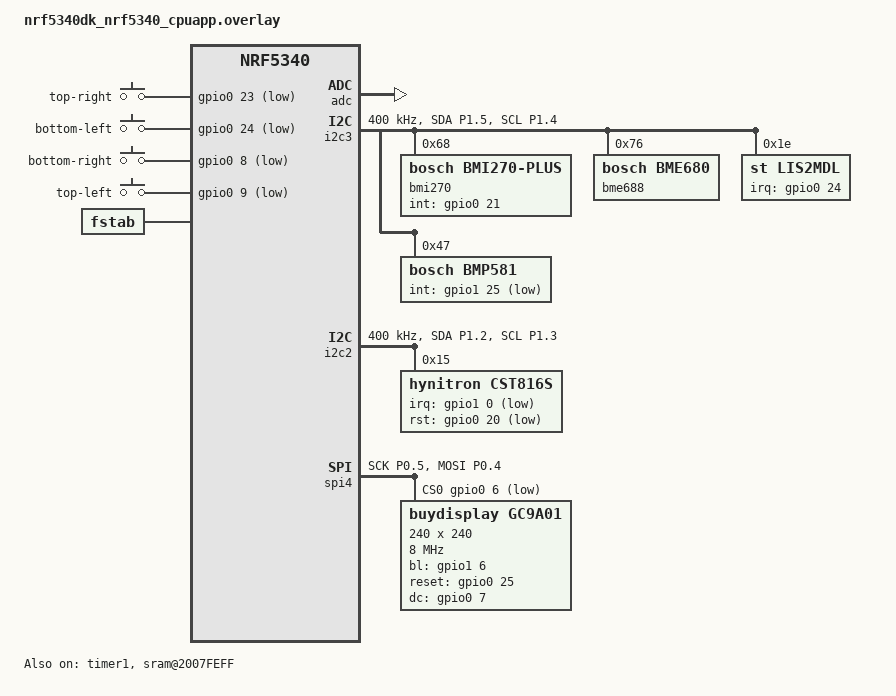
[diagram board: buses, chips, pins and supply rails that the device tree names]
/*
 * Copyright (c) 2023 Jakob Krantz
 *
 * SPDX-License-Identifier: Apache-2.0
 */

 &pinctrl {
    // Set to I2C pins that the sensors are connected to
    i2c3_default: i2c3_default {
        group1 {
            psels = <NRF_PSEL(TWIM_SDA, 1, 5)>,
                <NRF_PSEL(TWIM_SCL, 1, 4)>;
        };
    };

    i2c3_sleep: i2c3_sleep {
        group1 {
            psels = <NRF_PSEL(TWIM_SDA, 1, 5)>,
                <NRF_PSEL(TWIM_SCL, 1, 4)>;
            low-power-enable;
        };
    };

    // Set to I2C pins that the touch screen is connected to
    i2c2_default: i2c2_default {
        group1 {
            psels = <NRF_PSEL(TWIM_SDA, 1, 2)>,
                <NRF_PSEL(TWIM_SCL, 1, 3)>;
        };
    };

    i2c2_sleep: i2c2_sleep {
        group1 {
            psels = <NRF_PSEL(TWIM_SDA, 1, 2)>,
                <NRF_PSEL(TWIM_SCL, 1, 3)>;
            low-power-enable;
        };
    };

    // Set to the pins that the display is connected to
    spi4_default: spi4_default {
        group1 {
            psels = <NRF_PSEL(SPIM_SCK, 0, 5)>,
                <NRF_PSEL(SPIM_MOSI, 0, 4)>;
        };
    };

    spi4_sleep: spi4_sleep {
        group1 {
            psels = <NRF_PSEL(SPIM_SCK, 0, 5)>,
                <NRF_PSEL(SPIM_MOSI, 0, 4)>;
            low-power-enable;
        };
    };

};

/ {
    /delete-node/ buttons;
    
    chosen {
        zephyr,display = &gc9a01;
        zephyr,keyboard-scan = &cst816s;
        nordic,pm-ext-flash = &mx25r64;
    };

    lvgl_pointer_input: lvgl_pointer {
        compatible = "zephyr,lvgl-pointer-input";
        input = <&cst816s>;
        swap-xy;
        invert-x;
    };

    aliases {
        magn = &lis2mdl;
        accel = &bmi270;
        input = &cst816s;
        mcuboot-button0 = &button1;
        sw0 = &button4;
    };

    longpress: longpress {
        input = <&buttons>;
        compatible = "zephyr,input-longpress";
        input-codes = <INPUT_KEY_KP0>;
        short-codes = <INPUT_KEY_4>;
        long-codes = <INPUT_KEY_Y>;
        long-delay-ms = <1000>;
    };

    buttons: buttons {
        compatible = "gpio-keys";
        button1: button_1 {
            label = "top-right";
            gpios = <&gpio0 23 (GPIO_PULL_UP | GPIO_ACTIVE_LOW)>;
            zephyr,code = <INPUT_KEY_1>;
        };
        button2: button_2 {
            label = "bottom-left";
            gpios = <&gpio0 24 (GPIO_PULL_UP | GPIO_ACTIVE_LOW)>;
            zephyr,code = <INPUT_KEY_2>;
        };
        button3: button_3 {
            label = "bottom-right";
            gpios = <&gpio0 8 (GPIO_PULL_UP | GPIO_ACTIVE_LOW)>;
            zephyr,code = <INPUT_KEY_3>;
        };
        button4: button_4 {
            label = "top-left";
            gpios = <&gpio0 9 (GPIO_PULL_UP | GPIO_ACTIVE_LOW)>;
            zephyr,code = <INPUT_KEY_KP0>;
        };
    };
};

&adc {
    status = "okay";
};

&gpiote {
    status = "okay";
};

&gpio0 {
    status = "okay";
    sense-edge-mask = < 0xffffffff >;
};

&gpio1 {
    status = "okay";
};

&timer1 {
    status = "okay";
};

&i2c3 {
    compatible = "nordic,nrf-twim";
    status = "okay";
    clock-frequency = <I2C_BITRATE_FAST>;
    zephyr,concat-buf-size = <512>;
    pinctrl-0 = <&i2c3_default>;
    pinctrl-1 = <&i2c3_sleep>;
    pinctrl-names = "default", "sleep";

    bmi270: bmi270@68 {
        compatible = "bosch,bmi270-plus";
        reg = <0x68>;
        int-gpios = <&gpio0 21 (GPIO_PULL_DOWN | GPIO_ACTIVE_HIGH)>;
        invert-x;
        invert-y;
    };

    bme688: bme688@76 {
        compatible = "bosch,bme680";
        reg = <0x76>;
    };

    lis2mdl: lis2mdl@1e {
        compatible = "st,lis2mdl";
        reg = <0x1e>;
        irq-gpios = <&gpio0 24 0>;
    };

    bmp581: bmp581@47 {
        compatible = "bosch,bmp581";
        reg = <0x47>;
        int-gpios = <&gpio1 25 (GPIO_PULL_UP | GPIO_ACTIVE_LOW)>;
    };
};

&i2c2 {
    compatible = "nordic,nrf-twim";
    status = "okay";
    clock-frequency = <I2C_BITRATE_FAST>;
    pinctrl-0 = <&i2c2_default>;
    pinctrl-1 = <&i2c2_sleep>;
    pinctrl-names = "default", "sleep";

    cst816s: cst816s@15 {
        compatible = "hynitron,cst816s";
        reg = <0x15>;
        irq-gpios = <&gpio1 0 GPIO_ACTIVE_LOW>;
        rst-gpios = <&gpio0 20 GPIO_ACTIVE_LOW>;
    };
};

&i2c3_default {
    status = "okay";
};

&i2c3_default {
	group1 {
		bias-pull-up;
	};
};


&spi4  {
    status = "okay";
    compatible = "nordic,nrf-spim";
    pinctrl-0 = <&spi4_default>;
    pinctrl-1 = <&spi4_sleep>;
    pinctrl-names = "default", "sleep";
    cs-gpios = <&gpio0 6 GPIO_ACTIVE_LOW>;

    gc9a01: gc9a01@0 {
        compatible = "buydisplay,gc9a01";
        status = "okay";
        spi-max-frequency = <8000000>;
        reg = <0>;
        width = <240>;
        height = <240>;
        bl-gpios = <&gpio1 6 GPIO_ACTIVE_HIGH>; // Backlight not supported on DK. Must connect to 3V3 directly!
        reset-gpios = <&gpio0 25 GPIO_ACTIVE_HIGH>;
        dc-gpios = <&gpio0 7 GPIO_ACTIVE_HIGH>;
    };
};


/ {
	fstab {
		compatible = "zephyr,fstab";
		lvgl_lfs: lvgl_lfs {
			compatible = "zephyr,fstab,littlefs";
			mount-point = "/lvgl_lfs";
			partition = <&littlefs_storage>;
			automount;
			read-size = <1024>;
			prog-size = <512>;
			cache-size = <4096>;
			lookahead-size = <4096>;
			block-cycles = <512>;
		};
	};
};

/delete-node/ &storage_partition;

&mx25r64 {
	partitions {
		compatible = "fixed-partitions";
		#address-cells = <1>;
		#size-cells = <1>;

		littlefs_storage: partition@0 {
			label = "littlefs_storage";
			reg = <0x00000000 0x00200000>;
		};
		lvgl_raw_partition: partition@200000 {
			label = "lvgl_raw_partition";
			reg = <0x00200000 0x00200000>;
		};
        storage_partition: partition@400000 {
            label = "storage_partition";
            reg = <0x400000 0x100000 >;
        };
	};
};

/ {
    sram@2007FEFF {
        compatible = "zephyr,memory-region", "mmio-sram";
        reg = <0x2007FEFF 0x100>;
        zephyr,memory-region = "RetainedMem";
        status = "okay";

        retainedmem {
            compatible = "zephyr,retained-ram";
            status = "okay";
            #address-cells = <1>;
            #size-cells = <1>;

            retention0: retention@0 {
                compatible = "zephyr,retention";
                status = "okay";
                reg = <0x0 0xFB>;
                prefix = [04 fa];
                checksum = <1>;
            };
            // Last byte in RAM is for boot mode.
            // Du to debugger only supports writing 4 bytes at a time
            // we need to leave a 3 byte gap between the two retention areas.
            retention1: retention@FF {
                compatible = "zephyr,retention";
                status = "okay";
                reg = <0xFF 0x1>;
            };
        };
    };

    chosen {
            zephyr,boot-mode = &retention1;
    };
};

/*
* Reduce SRAM0 usage by 256 bytes to account for non-init area.
* The last 256 bytes of SRAM0 are used for retention memory.
*/
&sram0 {
    reg = <0x20000000 0x7FEFF>;
};
